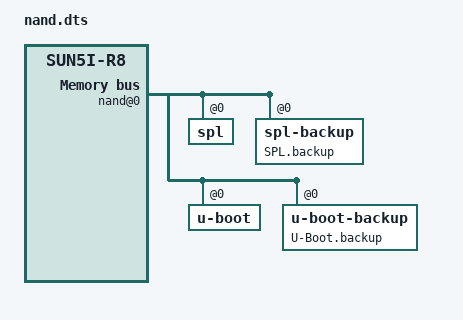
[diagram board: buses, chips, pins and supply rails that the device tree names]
/dts-v1/;
/plugin/;

/{
  compatible = "nextthing,chip", "allwinner,sun5i-r8";
  fragment@0 {
    target = <&nfc>;

    __overlay {
      status = "okay";
      pinctrl-names = "default";
      pinctrl-0 = <&nand_pins_a>, <&nand_cs0_pins_a>, <&nand_rb0_pins_a>;

      #address-cells = <1>;
      #size-cells = <0>;
      
      nand@0 {
        reg = <0x0>;
        allwinner,rb = <0x0>;
        nand-ecc-mode = "hw";

        #address-cells = <2>;
        #size-cells = <2>;

        spl@0 {
          label = "SPL";
          reg = <0x0>, <0x0>, <0x0>, <0x00400000>;
        };
        spl-backup@0 {
          label = "SPL.backup";
          reg = <0x0>, <0x00400000>, <0x0>, <0x00400000>;
        };
        u-boot@0 {
          label = "U-Boot";
          reg = <0x0>, <0x00800000>, <0x0>, <0x00400000>;
        };
        u-boot-backup@0 {
          label ="U-Boot.backup";
          reg = <0x0>, <0x00c00000>, <0x0>, <0x00400000>;
        };
      };
    };
  };
};
